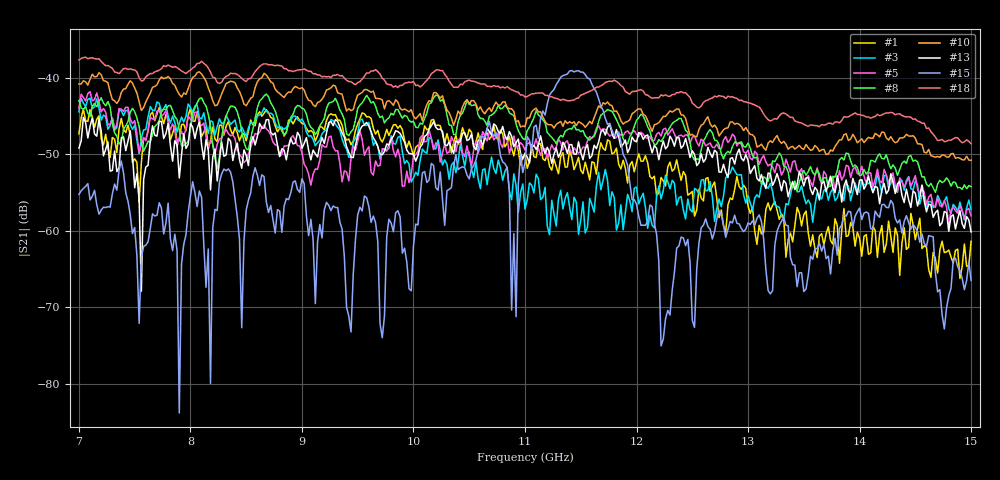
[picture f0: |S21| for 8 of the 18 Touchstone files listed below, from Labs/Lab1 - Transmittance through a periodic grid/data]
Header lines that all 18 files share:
!Keysight Technologies,N5242B,MY47200105,A.14.00.23
!Correction: S11(C  2-Port  )
!S21(C  2-Port  )
!S12(C  2-Port  )
!S22(C  2-Port  )
!S2P File: Measurement: :
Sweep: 7 GHz to 15 GHz
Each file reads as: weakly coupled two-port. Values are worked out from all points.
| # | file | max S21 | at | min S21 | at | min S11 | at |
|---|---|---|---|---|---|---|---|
| 1 | arago5L.s2p | -43.92 dB | 7.72 GHz | -66.2 dB | 14.9 GHz | -48.0 dB | 10.54 GHz |
| 2 | arago5R.s2p | -44.68 dB | 8.7 GHz | -68.3 dB | 14.72 GHz | -36.5 dB | 10.5 GHz |
| 3 | arago7L.s2p | -42.69 dB | 7.1 GHz | -60.5 dB | 11.22 GHz | -37.9 dB | 10.52 GHz |
| 4 | arago7R.s2p | -43.23 dB | 7 GHz | -67.5 dB | 13.2 GHz | -39.0 dB | 10.54 GHz |
| 5 | arago10L.s2p | -41.83 dB | 7.1 GHz | -59.1 dB | 14.8 GHz | -36.9 dB | 10.54 GHz |
| 6 | arago10R.s2p | -42.95 dB | 7.06 GHz | -59.3 dB | 11 GHz | -35.4 dB | 10.54 GHz |
| 7 | arago15L.s2p | -40.18 dB | 7.04 GHz | -53.2 dB | 14.98 GHz | -40.0 dB | 10.52 GHz |
| 8 | arago15R.s2p | -42.16 dB | 8.68 GHz | -55.0 dB | 14.68 GHz | -39.9 dB | 10.54 GHz |
| 9 | arago20L.s2p | -37.77 dB | 7.1 GHz | -49.2 dB | 15 GHz | -42.0 dB | 10.54 GHz |
| 10 | arago20R.s2p | -39.24 dB | 8.08 GHz | -50.8 dB | 15 GHz | -35.0 dB | 10.54 GHz |
| 11 | arago25L.s2p | -37.08 dB | 7.04 GHz | -47.6 dB | 14.78 GHz | -39.9 dB | 10.54 GHz |
| 12 | arago25R.s2p | -38.17 dB | 7.14 GHz | -47.7 dB | 14.74 GHz | -39.2 dB | 10.54 GHz |
| 13 | aragoCentre.s2p | -45.18 dB | 7.04 GHz | -67.9 dB | 7.56 GHz | -44.2 dB | 10.56 GHz |
| 14 | aragod0.s2p | -40.75 dB | 9.58 GHz | -55.4 dB | 14.96 GHz | -44.9 dB | 10.54 GHz |
| 15 | avecgrid.s2p | -39.08 dB | 11.42 GHz | -83.8 dB | 7.9 GHz | -38.8 dB | 10.54 GHz |
| 16 | avecgriddB.s2p | -39.07 dB | 11.42 GHz | -85.6 dB | 7.9 GHz | -38.2 dB | 10.62 GHz |
| 17 | sansgrid.s2p | -37.36 dB | 7.06 GHz | -48.7 dB | 15 GHz | -41.0 dB | 10.54 GHz |
| 18 | sansgriddb.s2p | -37.34 dB | 7.06 GHz | -48.6 dB | 15 GHz | -41.0 dB | 10.54 GHz |
